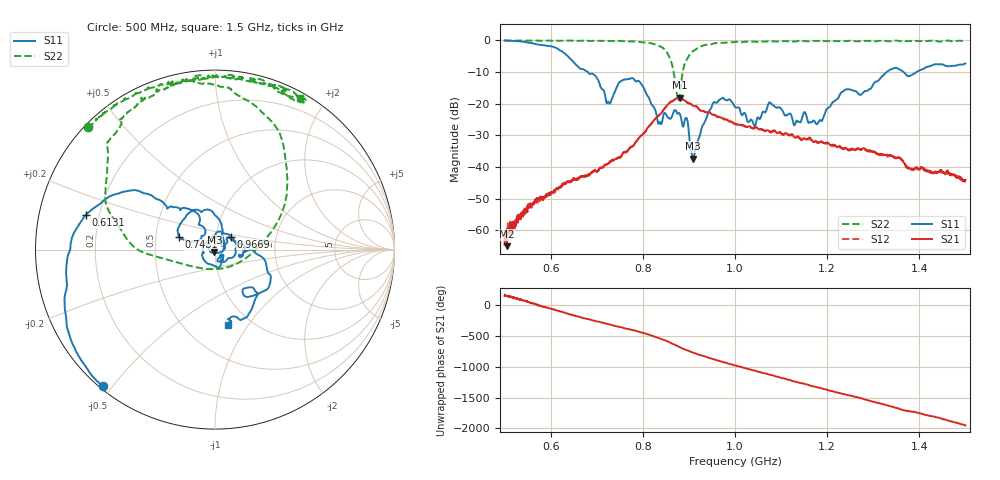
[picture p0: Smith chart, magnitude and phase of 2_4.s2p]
!Agilent Technologies,E8364B,US42250235,A.06.04.32
!Agilent E8364B: A.06.04.32
!Date: Friday, January 15, 2021 16:15:31
!Correction: S11(Full 2 Port(1,2)) S21(Full 2 Port(1,2)) S12(Full 2 Port(1,2)) S22(Full 2 Port(1,2))
!S2P File: Measurements: S11, S21, S12, S22:
# Hz S  dB  R 50
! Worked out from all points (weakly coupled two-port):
!   1601 points, 500 MHz to 1.5 GHz, reference 50 ohm
!   highest |S21| = -18.19 dB at 880 MHz (marker M1); lowest = -64.9 dB at 505 MHz (marker M2)
!   lowest |S11| = -37.3 dB at 908.1 MHz (marker M3), VSWR 1.03, Z = 49.6 - j1.3 ohm
!   |S11| at or under -10 dB: 680.1 MHz to 1.33 GHz (649.7 MHz wide, 64.7 % of centre); 1.366 GHz to 1.395 GHz (29.39 MHz wide, 2.13 % of centre)
!   |S22| runs from -19.3 to -0.1 dB; largest |S21 - S12| = 0.0033
!   S11 on the Smith chart (normalised r, x): 500 MHz: 0.01, -0.47; 613.1 MHz: 0.15, +0.13; 748.1 MHz: 0.66, +0.10; 966.9 MHz: 1.18, +0.17; 1.5 GHz: 0.79, -0.82
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5e8  -0.12 -129.4  -64.53 157.3  -60.19 163.4  -0.16 136.0
5.05e8  -0.14 -131.5  -64.94 157.0  -59.70 153.5  -0.18 135.5
6.13125e8  -2.55 165.1  -46.67 -79.3  -46.65 -80.6  -0.19 123.8
6.66875e8  -9.09 139.3  -42.96 162.2  -42.96 162.9  -0.22 116.2
6.98125e8  -11.48 122.4  -41.19 102.7  -41.42 100.7  -0.21 112.4
7.25e8  -19.40 135.0  -38.98 55.3  -38.82 55.1  -0.30 109.0
7.48125e8  -13.42 160.5  -36.89 11.0  -36.96 10.7  -0.25 105.0
7.93125e8  -13.14 96.6  -30.56 -71.7  -30.48 -72.9  -0.63 94.9
8.3375e8  -26.39 70.8  -23.90 -169.9  -23.90 -170.3  -1.73 72.3
8.60625e8  -24.76 93.3  -19.41 109.1  -19.49 109.1  -6.45 34.4
8.74375e8  -23.07 50.5  -18.43 61.0  -18.45 60.9  -17.50 -41.0
8.8e8  -23.23 41.8  -18.19 40.9  -18.29 40.6  -17.64 -128.5
8.95625e8  -24.74 15.2  -19.70 -11.8  -19.55 -11.8  -6.07 172.8
9.08125e8  -37.33 -104.9  -20.55 -46.1  -20.53 -46.6  -3.56 156.8
9.48125e8  -21.46 87.9  -23.16 -144.7  -23.13 -143.9  -1.33 129.0
9.66875e8  -18.75 38.8  -24.31 174.8  -24.30 172.6  -0.91 124.2
1e9  -21.05 -32.5  -26.44 102.5  -26.35 102.0  -0.56 115.0
1.04125e9  -26.75 -53.8  -27.67 22.7  -27.85 20.6  -0.49 110.2
1.076875e9  -19.76 -83.6  -29.09 -50.9  -28.70 -51.7  -0.38 104.8
1.166875e9  -25.84 28.3  -31.58 125.0  -31.63 126.6  -0.36 91.0
1.33375e9  -9.59 -24.2  -36.19 166.1  -36.48 166.6  -0.38 76.6
1.5e9  -7.35 -80.0  -44.08 -155.5  -44.57 -153.7  -0.26 60.7
